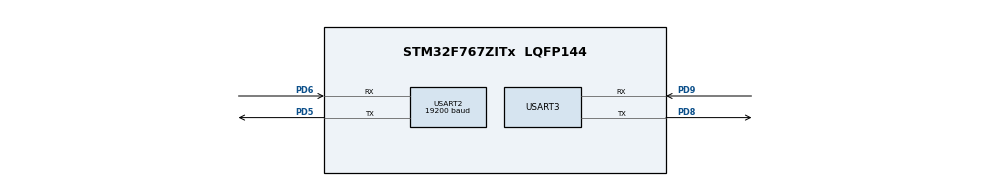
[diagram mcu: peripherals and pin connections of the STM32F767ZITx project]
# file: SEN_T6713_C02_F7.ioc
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Mcu.Family=STM32F7
Mcu.Name=STM32F767ZITx
Mcu.Package=LQFP144
NVIC.PriorityGroup=NVIC_PRIORITYGROUP_4
NVIC.USART2_IRQn=true\:0\:0\:false\:false\:true\:true\:true\:true
PA13.Mode=Serial_Wire
PA13.Signal=SYS_JTMS-SWDIO
PA14.Mode=Serial_Wire
PA14.Signal=SYS_JTCK-SWCLK
PD5.Mode=Asynchronous
PD5.Signal=USART2_TX
PD6.Mode=Asynchronous
PD6.Signal=USART2_RX
PD8.Mode=Asynchronous
PD8.Signal=USART3_TX
PD9.Mode=Asynchronous
PD9.Signal=USART3_RX
ProjectManager.HeapSize=0x200
ProjectManager.StackSize=0x400
ProjectManager.TargetToolchain=STM32CubeIDE
RCC.HSE_VALUE=25000000
RCC.HSI_VALUE=16000000
RCC.LSE_VALUE=32768
RCC.USBFreq_Value=96000000
RCC.VCOOutputFreq_Value=192000000
USART2.BaudRate=19200
USART2.Parity=PARITY_EVEN
USART2.VirtualMode-Asynchronous=VM_ASYNC
USART2.WordLength=WORDLENGTH_9B
USART3.VirtualMode-Asynchronous=VM_ASYNC
board=custom

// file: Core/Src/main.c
/* USER CODE BEGIN Header */
/**
  ******************************************************************************
  * @file           : main.c
  * @brief          : Main program body
  ******************************************************************************
  * @attention
  *
  * Copyright (c) 2023 STMicroelectronics.
  * All rights reserved.
  *
  * This software is licensed under terms that can be found in the LICENSE file
  * in the root directory of this software component.
  * If no LICENSE file comes with this software, it is provided AS-IS.
  *
  ******************************************************************************
  */
/* USER CODE END Header */
#include "main.h"

/* USER CODE BEGIN Includes */
#include <stdio.h>
#include <string.h>
/* USER CODE END Includes */

UART_HandleTypeDef huart2;
UART_HandleTypeDef huart3;

void SystemClock_Config(void);
static void MPU_Config(void);
static void MX_GPIO_Init(void);
static void MX_USART2_UART_Init(void);
static void MX_USART3_UART_Init(void);
/* USER CODE BEGIN PFP */
static void peopleTest(uint16_t co2_new);
int EstimatePeopleCount(uint16_t co2_value);
/* USER CODE END PFP */

/* USER CODE BEGIN 0 */
static const uint8_t cmd[8] = {
		  0x15,	// slave address
		  0x04,	// read input register function
		  0x13,	// register address 5003 (MSB)
		  0x8B,	// register address 5003 (LSB)
		  0x00, // number of registers (MSB)
		  0x01,	// number of registers (LSB)
		  0x46,	// CRC (LSB)
		  0x70	// CRC (MSB)
};

static uint16_t cmd_length =
  		  (uint16_t)(sizeof(cmd)/sizeof(uint8_t));

uint8_t rcv_buff[8];
uint8_t snd_buff[11]; // 11 BY DEFAULT
uint16_t co2 = -1;
int flag_co2 = 0;

/* USER CODE END 0 */

int main(void)
{

  /* MPU Configuration--------------------------------------------------------*/
  MPU_Config();

  /* MCU Configuration--------------------------------------------------------*/

  /* Reset of all peripherals, Initializes the Flash interface and the Systick. */
  HAL_Init();

  /* Configure the system clock */
  SystemClock_Config();

  /* Initialize all configured peripherals */
  MX_GPIO_Init();
  MX_USART2_UART_Init();
  MX_USART3_UART_Init();
  /* USER CODE BEGIN 2 */
  HAL_UART_Receive_IT(&huart2, rcv_buff, 8);
  /* USER CODE END 2 */

  /* Infinite loop */
  /* USER CODE BEGIN WHILE */
  while (1)
  {
	  HAL_UART_Transmit(&huart2, cmd, cmd_length, 1000);
	  HAL_Delay(50);
	  if(flag_co2 == 1){
		  peopleTest(co2);
		  flag_co2 = 0;
	  }
    /* USER CODE END WHILE */

  }
}

void SystemClock_Config(void)
{
  RCC_OscInitTypeDef RCC_OscInitStruct = {0};
  RCC_ClkInitTypeDef RCC_ClkInitStruct = {0};

  /** Configure the main internal regulator output voltage
  */
  __HAL_RCC_PWR_CLK_ENABLE();
  __HAL_PWR_VOLTAGESCALING_CONFIG(PWR_REGULATOR_VOLTAGE_SCALE3);

  /** Initializes the RCC Oscillators according to the specified parameters
  * in the RCC_OscInitTypeDef structure.
  */
  RCC_OscInitStruct.OscillatorType = RCC_OSCILLATORTYPE_HSI;
  RCC_OscInitStruct.HSIState = RCC_HSI_ON;
  RCC_OscInitStruct.HSICalibrationValue = RCC_HSICALIBRATION_DEFAULT;
  RCC_OscInitStruct.PLL.PLLState = RCC_PLL_NONE;
  if (HAL_RCC_OscConfig(&RCC_OscInitStruct) != HAL_OK)
  {
    Error_Handler();
  }

  /** Initializes the CPU, AHB and APB buses clocks
  */
  RCC_ClkInitStruct.ClockType = RCC_CLOCKTYPE_HCLK|RCC_CLOCKTYPE_SYSCLK
                              |RCC_CLOCKTYPE_PCLK1|RCC_CLOCKTYPE_PCLK2;
  RCC_ClkInitStruct.SYSCLKSource = RCC_SYSCLKSOURCE_HSI;
  RCC_ClkInitStruct.AHBCLKDivider = RCC_SYSCLK_DIV1;
  RCC_ClkInitStruct.APB1CLKDivider = RCC_HCLK_DIV1;
  RCC_ClkInitStruct.APB2CLKDivider = RCC_HCLK_DIV1;

  if (HAL_RCC_ClockConfig(&RCC_ClkInitStruct, FLASH_LATENCY_0) != HAL_OK)
  {
    Error_Handler();
  }
}

static void MX_USART2_UART_Init(void)
{

  huart2.Instance = USART2;
  huart2.Init.BaudRate = 19200;
  huart2.Init.WordLength = UART_WORDLENGTH_9B;
  huart2.Init.StopBits = UART_STOPBITS_1;
  huart2.Init.Parity = UART_PARITY_EVEN;
  huart2.Init.Mode = UART_MODE_TX_RX;
  huart2.Init.HwFlowCtl = UART_HWCONTROL_NONE;
  huart2.Init.OverSampling = UART_OVERSAMPLING_16;
  huart2.Init.OneBitSampling = UART_ONE_BIT_SAMPLE_DISABLE;
  huart2.AdvancedInit.AdvFeatureInit = UART_ADVFEATURE_NO_INIT;
  if (HAL_UART_Init(&huart2) != HAL_OK)
  {
    Error_Handler();
  }
  /* USER CODE BEGIN USART2_Init 2 */
  HAL_NVIC_SetPriority(USART2_IRQn, 0, 0);
  HAL_NVIC_EnableIRQ(USART2_IRQn);
  /* USER CODE END USART2_Init 2 */

}

static void MX_USART3_UART_Init(void)
{

  huart3.Instance = USART3;
  huart3.Init.BaudRate = 115200;
  huart3.Init.WordLength = UART_WORDLENGTH_8B;
  huart3.Init.StopBits = UART_STOPBITS_1;
  huart3.Init.Parity = UART_PARITY_NONE;
  huart3.Init.Mode = UART_MODE_TX_RX;
  huart3.Init.HwFlowCtl = UART_HWCONTROL_NONE;
  huart3.Init.OverSampling = UART_OVERSAMPLING_16;
  huart3.Init.OneBitSampling = UART_ONE_BIT_SAMPLE_DISABLE;
  huart3.AdvancedInit.AdvFeatureInit = UART_ADVFEATURE_NO_INIT;
  if (HAL_UART_Init(&huart3) != HAL_OK)
  {
    Error_Handler();
  }

}

static void MX_GPIO_Init(void)
{

  /* GPIO Ports Clock Enable */
  __HAL_RCC_GPIOD_CLK_ENABLE();
  __HAL_RCC_GPIOA_CLK_ENABLE();

}

/* USER CODE BEGIN 4 */
void HAL_UART_RxCpltCallback(UART_HandleTypeDef *huart)
{
	if (huart->Instance == USART2) {
		HAL_UART_Receive_IT(&huart2, rcv_buff, 8);
		if( rcv_buff[0] == 0x15 && rcv_buff[1] == 0x04 && rcv_buff[2] == 0x02) {
			uint16_t new_co2 = (uint16_t)(rcv_buff[3] << 8 | rcv_buff[4]);

			if( new_co2 != co2 ) {
				co2 = new_co2;
				sprintf(snd_buff, "CO2: %d\r\n", co2);
				HAL_UART_Transmit(&huart3, snd_buff, strlen(snd_buff), 10);
				flag_co2 = 1;
			}
		}
	}
}

int EstimatePeopleCount(uint16_t co2_value) {
    // Definiciones de medias y desviaciones estándar por cantidad de personas
    const float means[] = {651, 3000, 4500, 6000};  // Agrega más si es necesario
    const float stddevs[] = {312, 621, 800, 900};   // Emparejadas con means[]

    int count = sizeof(means) / sizeof(means[0]);
    int best_index = 0;
    float min_z_score = 10000;

    for (int i = 0; i < count; ++i) {
        float z = fabs((co2_value - means[i]) / stddevs[i]);
        if (z < min_z_score) {
            min_z_score = z;
            best_index = i;
        }
    }

    return best_index + 1; // Porque el índice 0 corresponde a 1 persona
}

static void peopleTest(uint16_t co2_new){
	int estimated = EstimatePeopleCount(co2_new);
	sprintf(snd_buff, "Est. Personas: %d\r\n\r\n", estimated);
	HAL_UART_Transmit(&huart3, snd_buff, strlen(snd_buff), 10);
}

/* USER CODE END 4 */

/* MPU Configuration */

void MPU_Config(void)
{
  MPU_Region_InitTypeDef MPU_InitStruct = {0};

  /* Disables the MPU */
  HAL_MPU_Disable();

  /** Initializes and configures the Region and the memory to be protected
  */
  MPU_InitStruct.Enable = MPU_REGION_ENABLE;
  MPU_InitStruct.Number = MPU_REGION_NUMBER0;
  MPU_InitStruct.BaseAddress = 0x0;
  MPU_InitStruct.Size = MPU_REGION_SIZE_4GB;
  MPU_InitStruct.SubRegionDisable = 0x87;
  MPU_InitStruct.TypeExtField = MPU_TEX_LEVEL0;
  MPU_InitStruct.AccessPermission = MPU_REGION_NO_ACCESS;
  MPU_InitStruct.DisableExec = MPU_INSTRUCTION_ACCESS_DISABLE;
  MPU_InitStruct.IsShareable = MPU_ACCESS_SHAREABLE;
  MPU_InitStruct.IsCacheable = MPU_ACCESS_NOT_CACHEABLE;
  MPU_InitStruct.IsBufferable = MPU_ACCESS_NOT_BUFFERABLE;

  HAL_MPU_ConfigRegion(&MPU_InitStruct);
  /* Enables the MPU */
  HAL_MPU_Enable(MPU_PRIVILEGED_DEFAULT);

}

void Error_Handler(void)
{
  __disable_irq();
  while (1)
  {
  }
}
